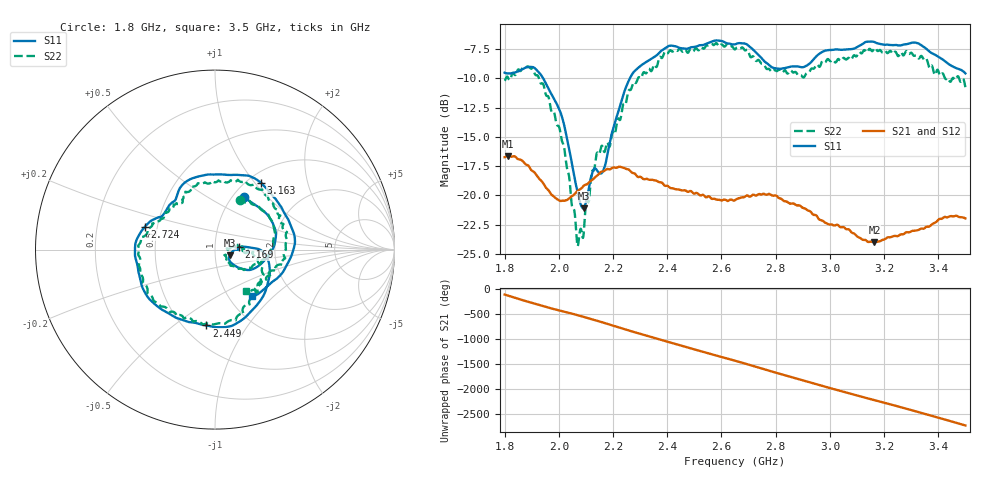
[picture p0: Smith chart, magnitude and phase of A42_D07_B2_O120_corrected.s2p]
! Created with skrf 1.9.0 (http://scikit-rf.org).
# Hz S RI R 50.0
!freq ReS11 ImS11 ReS21 ImS21 ReS12 ImS12 ReS22 ImS22
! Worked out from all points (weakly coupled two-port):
!   1601 points, 1.8 GHz to 3.5 GHz, reference 50 ohm
!   highest |S21| = -16.63 dB at 1.812 GHz (marker M1); lowest = -24.0 dB at 3.164 GHz (marker M2)
!   lowest |S11| = -21.1 dB at 2.091 GHz (marker M3), VSWR 1.19, Z = 58.8 - j3.72 ohm
!   |S11| at or under -10 dB: 1.942 GHz to 2.262 GHz (319.9 MHz wide, 15.2 % of centre)
!   |S22| runs from -24.3 to -7.0 dB; largest |S21 - S12| = 0.0027
!   S11 on the Smith chart (normalised r, x): 1.8 GHz: 1.13, +0.74; 2.169 GHz: 1.30, +0.03; 2.449 GHz: 0.64, -0.66; 2.724 GHz: 0.43, +0.13; 3.163 GHz: 1.15, +1.08; 3.5 GHz: 1.28, -0.75
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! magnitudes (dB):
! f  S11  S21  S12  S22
! 1.8 GHz  -9.5  -16.7  -16.7  -10.2
! 1.812 GHz  -9.6  -16.6  -16.6  -9.9
! 1.882 GHz  -9.1  -17.4  -17.4  -9.0
! 1.942 GHz  -10.0  -19.0  -19.0  -10.5
! 2.011 GHz  -13.3  -20.5  -20.5  -15.3
! 2.067 GHz  -19.5  -19.7  -19.7  -24.0
! 2.084 GHz  -20.9  -19.4  -19.3  -23.0
! 2.091 GHz  -21.1  -19.2  -19.2  -23.4
! 2.133 GHz  -17.7  -18.5  -18.5  -17.5
! 2.169 GHz  -17.6  -17.9  -17.9  -16.3
! 2.26 GHz  -10.1  -17.8  -17.8  -11.0
! 2.367 GHz  -7.9  -18.8  -18.8  -8.5
! 2.449 GHz  -7.4  -19.5  -19.6  -7.5
! 2.65 GHz  -7.1  -20.4  -20.4  -7.5
! 2.724 GHz  -7.7  -20.0  -20.0  -8.4
! 2.799 GHz  -9.1  -20.0  -20.0  -9.3
! 2.934 GHz  -8.5  -21.5  -21.5  -9.2
! 3.163 GHz  -6.9  -24.0  -24.0  -7.5
! 3.164 GHz  -6.9  -24.0  -24.0  -7.4
! 3.217 GHz  -7.1  -23.6  -23.5  -7.8
! 3.324 GHz  -7.0  -23.0  -22.9  -8.2
! 3.5 GHz  -9.6  -22.0  -22.0  -10.8
